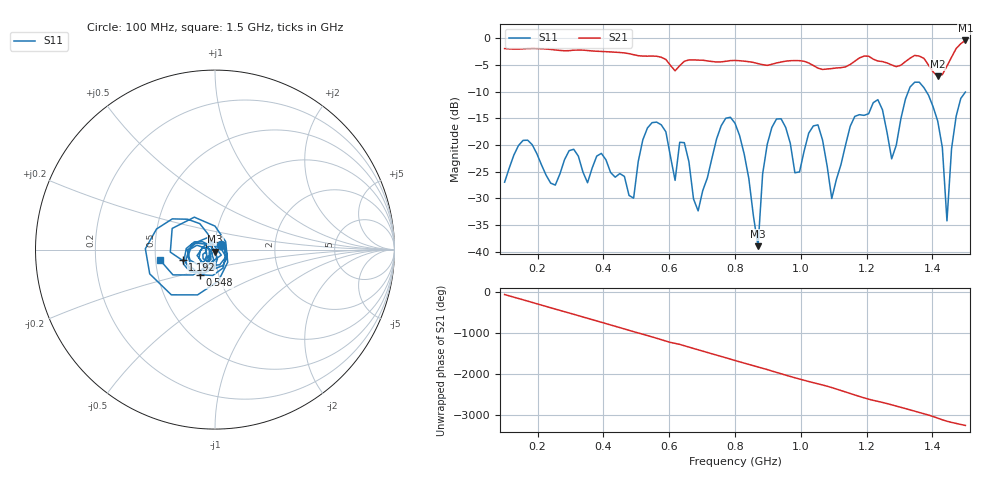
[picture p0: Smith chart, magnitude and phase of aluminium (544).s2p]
! NanoVNA-App
! Date: 2025-09-25 14:59:31
! Start: 100MHz Stop: 1,5GHz Points: 101
! S-Parameter data: F S11 S21 S12 S22
# Hz S RI R 50
!  Frequency  S11_Real  S11_Imag  S21_Real  S21_Imag  S12_Real  S12_Imag  S22_Real  S22_Imag
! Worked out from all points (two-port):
!   101 points, 100 MHz to 1.5 GHz, reference 50 ohm
!   highest |S21| = -0.39 dB at 1.5 GHz (marker M1); lowest = -7.1 dB at 1.416 GHz (marker M2)
!   |S21| within 3 dB of the highest: start of sweep to 565 MHz; 1.459 GHz to end of sweep (the widest 2 of 4)
!   lowest |S11| = -39.0 dB at 870 MHz (marker M3), VSWR 1.02, Z = 50.1 - j1.12 ohm
!   |S11| at or under -10 dB: start of sweep to 1.326 GHz; 1.382 GHz to end of sweep
!   S12 and S22 are empty: the file has one direction only
!   S11 on the Smith chart (normalised r, x): 100 MHz: 1.07, +0.06; 548 MHz: 0.82, -0.24; 1.192 GHz: 0.69, -0.08; 1.5 GHz: 0.53, -0.06
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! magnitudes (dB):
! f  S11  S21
! 100 MHz  -27.0  -1.9
! 156 MHz  -19.1  -2.0
! 338 MHz  -25.1  -2.2
! 492 MHz  -30.0  -3.1
! 548 MHz  -15.8  -3.3
! 576 MHz  -16.2  -3.5
! 646 MHz  -19.6  -4.3
! 688 MHz  -32.3  -4.1
! 800 MHz  -15.9  -4.1
! 870 MHz  -39.0  -4.7
! 912 MHz  -16.7  -4.9
! 982 MHz  -25.2  -4.2
! 1.038 GHz  -16.4  -5.1
! 1.094 GHz  -30.0  -5.7
! 1.192 GHz  -14.4  -3.3
! 1.234 GHz  -11.5  -4.3
! 1.276 GHz  -22.6  -5.0
! 1.346 GHz  -8.2  -3.2
! 1.416 GHz  -15.5  -7.1
! 1.444 GHz  -34.2  -5.2
! 1.472 GHz  -14.6  -1.9
! 1.5 GHz  -10.1  -0.4
